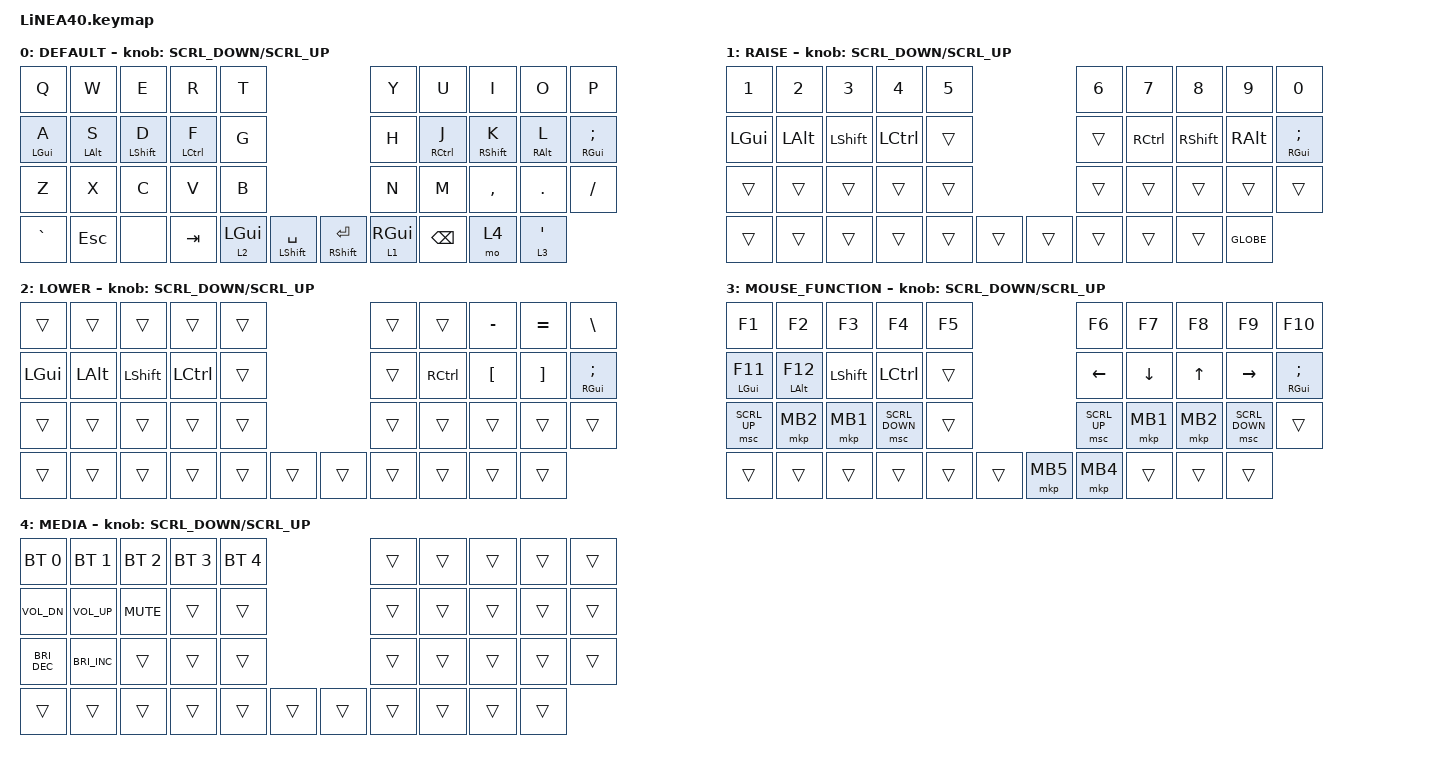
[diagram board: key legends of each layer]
#define ZMK_POINTING_DEFAULT_SCRL_VAL 20

#include <dt-bindings/zmk/input_transform.h>
#include <input/processors.dtsi>
#include <zephyr/dt-bindings/input/input-event-codes.h>
#include <behaviors.dtsi>
#include <dt-bindings/zmk/bt.h>
#include <dt-bindings/zmk/keys.h>
#include <dt-bindings/zmk/pointing.h>

#define DEFAULT 0
#define RAISE 1
#define LOWER 2
#define MOUSE_FUNCTION 3
#define MEDIA 4

//mouse cursol
&mmv {
    delay-ms = <20>;
    trigger-period-ms = <5>;
    time-to-max-speed-ms = <100>;
    acceleration-exponent = <2>;
};

//mouse scroll
&msc {
    delay-ms = <3>;
    trigger-period-ms = <3>;
    time-to-max-speed-ms = <100>;
    acceleration-exponent = <0>;
};

/ {
    input_processors {
        zip_wheel_scaler: zip_wheel_scaler {
            compatible = "zmk,input-processor-scaler";
            #input-processor-cells = <2>;
            type = <INPUT_EV_REL>;
            codes = <INPUT_REL_WHEEL>;
            track-remainders;
        };
    };
};

/* &msc_input_listener { */
/*     speed_up { */
/*         layers = <MEDIA>; */
/*         input-processors = <&zip_wheel_scaler 3 1>; //スクロールを3倍速にする */
/*     }; */
/* }; */

// &trackball_listener {
//     scroller {
//         layers = <SCROLL>;
//         input-processors =
//             <&zip_xy_transform INPUT_TRANSFORM_Y_INVERT>,
//             //スクロール方向を逆転
//             <&zip_xy_to_scroll_mapper>;
//     };
// };

/ {
    // key positions:
    //
    // [32]: エンコーダ
    // [空白]: track-ball
    //
    // [ 0][ 1][ 2][ 3][ 4]     |     [ 5][ 6][ 7][ 8][ 9]
    // [10][11][12][13][14]     |     [15][16][17][18][19]
    // [20][21][22][23][24]     |     [25][26][27][28][29]
    // [30][31][32][33][34][35] | [36][37]    [38][39][40]
    combos {
        compatible = "zmk,combos";

        combo_CapsLock {
            bindings = <&kp CAPSLOCK>;
            key-positions = <13 16>;
            timeout-ms = <50>;
        };

        combo_BackSpaceKey {
            bindings = <&kp BSPC>;
            key-positions = <8 9>;
        };

        combo_DeleteKey {
            bindings = <&kp DEL>;
            key-positions = <7 8>;
        };

        /* combo_CenterClick { */
        /*     bindings = <&mkp MB3>; */
        /*     key-positions = <17 16>; */
        /* }; */
        /**/
        /* combo_RightClick { */
        /*     bindings = <&mkp MB2>; */
        /*     key-positions = <18 17>; */
        /* }; */
        /**/
        /* combo_PrevClick { */
        /*     bindings = <&mkp MB4>; */
        /*     key-positions = <27 28>; */
        /* }; */
        /**/
        /* combo_ClickNext { */
        /*     bindings = <&mkp MB5>; */
        /*     key-positions = <26 27>; */
        /* }; */

        combo_f1 {
            bindings = <&kp F1>;
            key-positions = <0 40>;
            layers = <RAISE>;
            timeout-ms = <50>;
        };

        combo_f2 {
            bindings = <&kp F2>;
            key-positions = <1 40>;
            layers = <RAISE>;
            timeout-ms = <50>;
        };

        combo_f3 {
            bindings = <&kp F3>;
            key-positions = <2 40>;
            layers = <RAISE>;
            timeout-ms = <50>;
        };

        combo_f4 {
            bindings = <&kp F4>;
            key-positions = <3 40>;
            layers = <RAISE>;
            timeout-ms = <50>;
        };

        combo_f5 {
            bindings = <&kp F5>;
            key-positions = <4 40>;
            layers = <RAISE>;
            timeout-ms = <50>;
        };

        combo_f6 {
            bindings = <&kp F6>;
            key-positions = <5 40>;
            layers = <RAISE>;
            timeout-ms = <50>;
        };

        combo_f7 {
            bindings = <&kp F7>;
            key-positions = <6 40>;
            layers = <RAISE>;
            timeout-ms = <50>;
        };

        combo_f8 {
            bindings = <&kp F8>;
            key-positions = <7 40>;
            layers = <RAISE>;
            timeout-ms = <50>;
        };

        combo_f9 {
            bindings = <&kp F9>;
            key-positions = <8 40>;
            layers = <RAISE>;
            timeout-ms = <50>;
        };

        combo_f10 {
            bindings = <&kp F10>;
            key-positions = <9 40>;
            layers = <RAISE>;
            timeout-ms = <50>;
        };

        combo_f11 {
            bindings = <&kp F11>;
            key-positions = <10 40>;
            layers = <RAISE>;
            timeout-ms = <50>;
        };

        combo_f12 {
            bindings = <&kp F12>;
            key-positions = <11 40>;
            layers = <RAISE>;
            timeout-ms = <50>;
        };

        bt_clear {
            bindings = <&bt BT_CLR>;
            key-positions = <30 31>;
            layers = <MEDIA>;
        };
    };

    behaviors {
        hml: home_row_mod_left {
            compatible = "zmk,behavior-hold-tap";
            #binding-cells = <2>;
            flavor = "balanced";
            require-prior-idle-ms = <150>;
            tapping-term-ms = <200>;
            quick-tap-ms = <175>;
            bindings = <&kp>, <&kp>;
            /* hold-trigger-key-positions = <16 17 18 19>; */
            hold-trigger-key-positions = <5 6 7 8 9 15 16 17 18 19 25 26 27 28 29 36 37 38 39 40>;
            hold-trigger-on-release;
        };

        hmr: home_row_mod_right {
            compatible = "zmk,behavior-hold-tap";
            #binding-cells = <2>;
            flavor = "balanced";
            require-prior-idle-ms = <150>;
            tapping-term-ms = <200>;
            quick-tap-ms = <175>;
            bindings = <&kp>, <&kp>;
            /* hold-trigger-key-positions = <10 11 12 13>; */
            hold-trigger-key-positions = <0 1 2 3 4 10 11 12 13 14 20 21 22 23 24 30 31 32 33 34 35>;
            hold-trigger-on-release;
        };

        mouse_scrl: mouse_wheel_scrl {
            compatible = "zmk,behavior-sensor-rotate-var";
            #sensor-binding-cells = <2>;
            bindings = <&msc>, <&msc>;

            tap-ms = <20>;
        };
    };

// key positions:
//
// [32]: エンコーダ
// [空白]: track-ball
//
// [ 0][ 1][ 2][ 3][ 4]     |     [ 5][ 6][ 7][ 8][ 9]
// [10][11][12][13][14]     |     [15][16][17][18][19]
// [20][21][22][23][24]     |     [25][26][27][28][29]
// [30][31][32][33][34][35] | [36][37]    [38][39][40]

    keymap {
        compatible = "zmk,keymap";

        // 0
        DEFAULT {
            bindings = <
&kp Q         &kp W         &kp E          &kp R          &kp T                                           &kp Y       &kp U         &kp I         &kp O         &kp P
&hml LGUI A   &hml LALT S   &hml LSHFT D   &hml LCTRL F   &kp G                                           &kp H       &hmr RCTRL J  &hmr RSHFT K  &hmr RALT L   &hmr RGUI SEMI
&kp Z         &kp X         &kp C          &kp V          &kp B                                           &kp N       &kp M         &kp COMMA     &kp DOT       &kp SLASH
&kp GRAVE     &kp ESC       &none          &kp TAB        &lt 2 LGUI  &mt LSHFT SPACE   &mt RSHFT ENTER   &lt 1 RGUI                &kp BSPC      &mo 4         &lt 3 SQT
            >;

            sensor-bindings = <&mouse_scrl SCRL_DOWN SCRL_UP>;
        };

        //1
        RAISE {
            bindings = <
&kp N1      &kp N2      &kp N3      &kp N4      &kp N5                        &kp N6    &kp N7      &kp N8      &kp N9      &kp N0
&kp LGUI    &kp LALT    &kp LSHFT   &kp LCTRL   &trans                        &trans    &kp RCTRL   &kp RSHFT   &kp RALT    &mt RGUI SEMI
&trans      &trans      &trans      &trans      &trans                        &trans    &trans      &trans      &trans      &trans
&trans      &trans      &trans      &trans      &trans    &trans    &trans    &trans                &trans      &trans      &kp GLOBE
            >;

            sensor-bindings = <&mouse_scrl SCRL_DOWN SCRL_UP>;
        };

        //2
        LOWER {
            bindings = <
&trans      &trans      &trans      &trans      &trans                        &trans    &trans      &kp MINUS   &kp EQUAL    &kp BACKSLASH
&kp LGUI    &kp LALT    &kp LSHFT   &kp LCTRL   &trans                        &trans    &kp RCTRL   &kp LBKT    &kp RBKT     &mt RGUI SEMI
&trans      &trans      &trans      &trans      &trans                        &trans    &trans      &trans      &trans       &trans
&trans      &trans      &trans      &trans      &trans    &trans    &trans    &trans                &trans      &trans       &trans
            >;

            sensor-bindings = <&mouse_scrl SCRL_DOWN SCRL_UP>;
        };

        //3
        MOUSE_FUNCTION {
            bindings = <
&kp F1        &kp F2        &kp F3        &kp F4          &kp F5                      &kp F6        &kp F7      &kp F8      &kp F9            &kp F10
&mt LGUI F11  &mt LALT F12  &kp LSHFT     &kp LCTRL       &trans                      &kp LEFT      &kp DOWN    &kp UP      &kp RIGHT         &mt RGUI SEMI
&msc SCRL_UP  &mkp MB2      &mkp MB1      &msc SCRL_DOWN  &trans                      &msc SCRL_UP  &mkp MB1    &mkp MB2    &msc SCRL_DOWN    &trans
&trans        &trans        &trans        &trans          &trans   &trans  &mkp MB5   &mkp MB4                  &trans      &trans            &trans
            >;

            sensor-bindings = <&mouse_scrl SCRL_DOWN SCRL_UP>;
        };

        //4
        MEDIA {
            bindings = <
&bt BT_SEL 0      &bt BT_SEL 1            &bt BT_SEL 2  &bt BT_SEL 3  &bt BT_SEL 4                    &trans  &trans  &trans  &trans  &trans
&kp C_VOL_DN      &kp C_VOL_UP            &kp C_MUTE    &trans        &trans                          &trans  &trans  &trans  &trans  &trans
&kp C_BRI_DEC     &kp C_BRIGHTNESS_INC    &trans        &trans        &trans                          &trans  &trans  &trans  &trans  &trans
&trans            &trans                  &trans        &trans        &trans        &trans    &trans  &trans          &trans  &trans  &trans
            >;

            sensor-bindings = <&mouse_scrl SCRL_DOWN SCRL_UP>;
        };
    };
};
